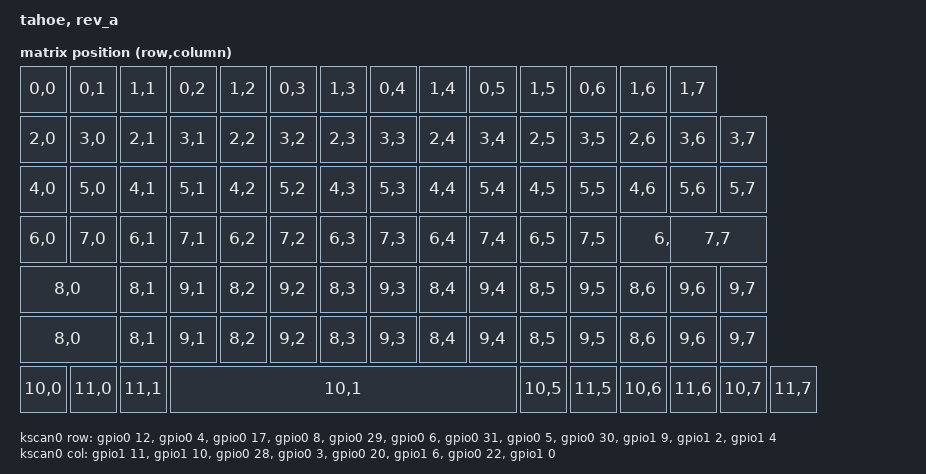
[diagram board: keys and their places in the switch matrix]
/*
 * Copyright (c) 2020 The ZMK Contributors
 *
 * SPDX-License-Identifier: MIT
 */

/dts-v1/;
#include <nordic/nrf52840_qiaa.dtsi>
#include <physical_layouts.dtsi>
#include <dt-bindings/led/led.h>
#include <dt-bindings/zmk/matrix_transform.h>
#include "tahoe.dtsi"

/ {
	model = "tahoe, rev_a";
	compatible = "tahoe,rev_a";

	chosen {
		zephyr,code-partition = &code_partition;
		zephyr,sram = &sram0;
		zephyr,flash = &flash0;
		// zmk,battery = &fuel_gauge;
		// zmk,kscan = &kscan0;
		// zmk,matrix_transform = &default_transform;
                zmk,physical-layout = &matrix_physical_layout;
		// zmk,underglow = &led_strip;
	};

        matrix_physical_layout: matrix_physical_layout {
            compatible = "zmk,physical-layout";
            display-name = "Matrix Layout";

            kscan = <&kscan0>;
            transform = <&default_transform>;

            // TODO fix this for tahoe layout specifically

            // key_physical_attrs params
            // int16_t width;
            // int16_t height;
            // int16_t x;
            // int16_t y;
            // int16_t rx;
            // int16_t ry;
            // int16_t r;
            keys
                // top row, 14 keys (though the far right is a rotary)
                = <&key_physical_attrs 100 100 0    0   0 0 0>
                , <&key_physical_attrs 100 100 100  0   0 0 0>
                , <&key_physical_attrs 100 100 200  0   0 0 0>
                , <&key_physical_attrs 100 100 300  0   0 0 0>
                , <&key_physical_attrs 100 100 400  0   0 0 0>
                , <&key_physical_attrs 100 100 500  0   0 0 0>
                , <&key_physical_attrs 100 100 600  0   0 0 0>
                , <&key_physical_attrs 100 100 700  0   0 0 0>
                , <&key_physical_attrs 100 100 800  0   0 0 0>
                , <&key_physical_attrs 100 100 900  0   0 0 0>
                , <&key_physical_attrs 100 100 1000 0   0 0 0>
                , <&key_physical_attrs 100 100 1100 0   0 0 0>
                , <&key_physical_attrs 100 100 1200 0   0 0 0>
                , <&key_physical_attrs 100 100 1300 0   0 0 0>

                // second from the top, 15 keys
                , <&key_physical_attrs 100 100 0    100 0 0 0>
                , <&key_physical_attrs 100 100 100  100 0 0 0>
                , <&key_physical_attrs 100 100 200  100 0 0 0>
                , <&key_physical_attrs 100 100 300  100 0 0 0>
                , <&key_physical_attrs 100 100 400  100 0 0 0>
                , <&key_physical_attrs 100 100 500  100 0 0 0>
                , <&key_physical_attrs 100 100 600  100 0 0 0>
                , <&key_physical_attrs 100 100 700  100 0 0 0>
                , <&key_physical_attrs 100 100 800  100 0 0 0>
                , <&key_physical_attrs 100 100 900  100 0 0 0>
                , <&key_physical_attrs 100 100 1000 100 0 0 0>
                , <&key_physical_attrs 100 100 1100 100 0 0 0>
                , <&key_physical_attrs 100 100 1200 100 0 0 0>
                , <&key_physical_attrs 100 100 1300 100 0 0 0>
                , <&key_physical_attrs 100 100 1400 100 0 0 0>

                // third from the top, 15 keys
                , <&key_physical_attrs 100 100 0    200 0 0 0>
                , <&key_physical_attrs 100 100 100  200 0 0 0>
                , <&key_physical_attrs 100 100 200  200 0 0 0>
                , <&key_physical_attrs 100 100 300  200 0 0 0>
                , <&key_physical_attrs 100 100 400  200 0 0 0>
                , <&key_physical_attrs 100 100 500  200 0 0 0>
                , <&key_physical_attrs 100 100 600  200 0 0 0>
                , <&key_physical_attrs 100 100 700  200 0 0 0>
                , <&key_physical_attrs 100 100 800  200 0 0 0>
                , <&key_physical_attrs 100 100 900  200 0 0 0>
                , <&key_physical_attrs 100 100 1000 200 0 0 0>
                , <&key_physical_attrs 100 100 1100 200 0 0 0>
                , <&key_physical_attrs 100 100 1200 200 0 0 0>
                , <&key_physical_attrs 100 100 1300 200 0 0 0>
                , <&key_physical_attrs 100 100 1400 200 0 0 0>

                // fourth from the top, 14 keys
                , <&key_physical_attrs 100 100 0    300 0 0 0>
                , <&key_physical_attrs 100 100 100  300 0 0 0>
                , <&key_physical_attrs 100 100 200  300 0 0 0>
                , <&key_physical_attrs 100 100 300  300 0 0 0>
                , <&key_physical_attrs 100 100 400  300 0 0 0>
                , <&key_physical_attrs 100 100 500  300 0 0 0>
                , <&key_physical_attrs 100 100 600  300 0 0 0>
                , <&key_physical_attrs 100 100 700  300 0 0 0>
                , <&key_physical_attrs 100 100 800  300 0 0 0>
                , <&key_physical_attrs 100 100 900  300 0 0 0>
                , <&key_physical_attrs 100 100 1000 300 0 0 0>
                , <&key_physical_attrs 100 100 1100 300 0 0 0>
                , <&key_physical_attrs 200 100 1200 300 0 0 0>
                , <&key_physical_attrs 200 100 1300 300 0 0 0>

                // fifth from the top, 14 keys
                , <&key_physical_attrs 200 100 0    400 0 0 0>
                , <&key_physical_attrs 100 100 200  400 0 0 0>
                , <&key_physical_attrs 100 100 300  400 0 0 0>
                , <&key_physical_attrs 100 100 400  400 0 0 0>
                , <&key_physical_attrs 100 100 500  400 0 0 0>
                , <&key_physical_attrs 100 100 600  400 0 0 0>
                , <&key_physical_attrs 100 100 700  400 0 0 0>
                , <&key_physical_attrs 100 100 800  400 0 0 0>
                , <&key_physical_attrs 100 100 900  400 0 0 0>
                , <&key_physical_attrs 100 100 1000 400 0 0 0>
                , <&key_physical_attrs 100 100 1100 400 0 0 0>
                , <&key_physical_attrs 100 100 1200 400 0 0 0>
                , <&key_physical_attrs 100 100 1300 400 0 0 0>
                , <&key_physical_attrs 100 100 1400 400 0 0 0>

                // sixth from the top, 14 keys
                , <&key_physical_attrs 200 100 0    500 0 0 0>
                , <&key_physical_attrs 100 100 200  500 0 0 0>
                , <&key_physical_attrs 100 100 300  500 0 0 0>
                , <&key_physical_attrs 100 100 400  500 0 0 0>
                , <&key_physical_attrs 100 100 500  500 0 0 0>
                , <&key_physical_attrs 100 100 600  500 0 0 0>
                , <&key_physical_attrs 100 100 700  500 0 0 0>
                , <&key_physical_attrs 100 100 800  500 0 0 0>
                , <&key_physical_attrs 100 100 900  500 0 0 0>
                , <&key_physical_attrs 100 100 1000 500 0 0 0>
                , <&key_physical_attrs 100 100 1100 500 0 0 0>
                , <&key_physical_attrs 100 100 1200 500 0 0 0>
                , <&key_physical_attrs 100 100 1300 500 0 0 0>
                , <&key_physical_attrs 100 100 1400 500 0 0 0>

                // seventh from the top, 10 keys
                , <&key_physical_attrs 100 100 0    600 0 0 0>
                , <&key_physical_attrs 100 100 100  600 0 0 0>
                , <&key_physical_attrs 100 100 200  600 0 0 0>
                , <&key_physical_attrs 700 100 300  600 0 0 0>
                , <&key_physical_attrs 100 100 1000 600 0 0 0>
                , <&key_physical_attrs 100 100 1100 600 0 0 0>
                , <&key_physical_attrs 100 100 1200 600 0 0 0>
                , <&key_physical_attrs 100 100 1300 600 0 0 0>
                , <&key_physical_attrs 100 100 1400 600 0 0 0>
                , <&key_physical_attrs 100 100 1500 600 0 0 0>
                ;
        };

        // this transform basically filters out some of the GPIO locations defined in kscan0 below.
        // i.e. kscan0 explains that we have 15 columns and 6 rows worth of possible connections.
        // but this transform indicates which are actually in use, and which GPIO position those map
        // to. for example, (5,3), (5,4), and (5,5) are not in use because of physical spacing but
        // (5,6) is the space bar.
        // the main benefit of this seems to be just so that "users don't have to set them [unused positions] to &none in keymaps."
	default_transform: keymap_transform_0 {
		compatible = "zmk,matrix-transform";
		columns = <8>;
		rows = <12>;
		map = <
			RC(0,0)           RC(0,1)  RC(1,1)  RC(0,2)  RC(1,2)  RC(0,3)  RC(1,3)  RC(0,4)  RC(1,4)  RC(0,5)  RC(1,5)  RC(0,6)  RC(1,6)           RC(1,7)
			RC(2,0)  RC(3,0)  RC(2,1)  RC(3,1)  RC(2,2)  RC(3,2)  RC(2,3)  RC(3,3)  RC(2,4)  RC(3,4)  RC(2,5)  RC(3,5)  RC(2,6)  RC(3,6)           RC(3,7)
			RC(4,0)  RC(5,0)  RC(4,1)  RC(5,1)  RC(4,2)  RC(5,2)  RC(4,3)  RC(5,3)  RC(4,4)  RC(5,4)  RC(4,5)  RC(5,5)  RC(4,6)  RC(5,6)           RC(5,7)
			RC(6,0)  RC(7,0)  RC(6,1)  RC(7,1)  RC(6,2)  RC(7,2)  RC(6,3)  RC(7,3)  RC(6,4)  RC(7,4)  RC(6,5)  RC(7,5)                    RC(6,7)  RC(7,7)
			RC(8,0)           RC(8,1)  RC(9,1)  RC(8,2)  RC(9,2)  RC(8,3)  RC(9,3)  RC(8,4)  RC(9,4)  RC(8,5)  RC(9,5)  RC(8,6)  RC(9,6)           RC(9,7)
			RC(8,0)           RC(8,1)  RC(9,1)  RC(8,2)  RC(9,2)  RC(8,3)  RC(9,3)  RC(8,4)  RC(9,4)  RC(8,5)  RC(9,5)  RC(8,6)  RC(9,6)           RC(9,7)
			RC(10,0) RC(11,0) RC(11,1) RC(10,1)                                                       RC(10,5) RC(11,5) RC(10,6) RC(11,6) RC(10,7) RC(11,7)
                        >;
	};


        // defines which GPIO on the microcontroller are connected to which rows and columns of the PCB.
	kscan0: kscan {
		compatible = "zmk,kscan-gpio-matrix";
		label = "KSCAN";
		diode-direction = "row2col";
		row-gpios
			= <&gpio0 12 (GPIO_ACTIVE_HIGH | GPIO_PULL_DOWN)>
			, <&gpio0 4 (GPIO_ACTIVE_HIGH | GPIO_PULL_DOWN)>
			, <&gpio0 17 (GPIO_ACTIVE_HIGH | GPIO_PULL_DOWN)>
			, <&gpio0 8 (GPIO_ACTIVE_HIGH | GPIO_PULL_DOWN)>
			, <&gpio0 29 (GPIO_ACTIVE_HIGH | GPIO_PULL_DOWN)>
			, <&gpio0 6 (GPIO_ACTIVE_HIGH | GPIO_PULL_DOWN)>
			, <&gpio0 31 (GPIO_ACTIVE_HIGH | GPIO_PULL_DOWN)>
			, <&gpio0 5 (GPIO_ACTIVE_HIGH | GPIO_PULL_DOWN)>
			, <&gpio0 30 (GPIO_ACTIVE_HIGH | GPIO_PULL_DOWN)>
			, <&gpio1 9 (GPIO_ACTIVE_HIGH | GPIO_PULL_DOWN)>
			, <&gpio1 2 (GPIO_ACTIVE_HIGH | GPIO_PULL_DOWN)>
			, <&gpio1 4 (GPIO_ACTIVE_HIGH | GPIO_PULL_DOWN)>
			;
		col-gpios
			= <&gpio1 11 GPIO_ACTIVE_HIGH>
			, <&gpio1 10 GPIO_ACTIVE_HIGH>
			, <&gpio0 28 GPIO_ACTIVE_HIGH>
			, <&gpio0  3 GPIO_ACTIVE_HIGH>
			, <&gpio0 20 GPIO_ACTIVE_HIGH>
			, <&gpio1  6 GPIO_ACTIVE_HIGH>
			, <&gpio0 22 GPIO_ACTIVE_HIGH>
			, <&gpio1  0 GPIO_ACTIVE_HIGH>
			;
	};

	// sensors {
    	// compatible = "zmk,keymap-sensors";
    	// sensors = <&left_encoder>;
	// };

	// left_encoder: encoder_left {
        //     compatible = "alps,ec11";
        //     label = "LEFT_ENCODER";
        //     a-gpios = <&gpio0 20 (GPIO_ACTIVE_HIGH | GPIO_PULL_UP)>;
        //     b-gpios = <&gpio0 19 (GPIO_ACTIVE_HIGH | GPIO_PULL_UP)>;
        //     resolution = <2>;
        // };

	ext-power {
		compatible = "zmk,ext-power-generic";
		label = "EXT_POWER";
		control-gpios = <&gpio0 10 GPIO_ACTIVE_HIGH>;
	};
};

&gpio0 {
	status = "okay";
};

&gpio1 {
	status = "okay";
};

&usbd {
	status = "okay";
};

zephyr_udc0: &usbd {
    status = "okay";
    // cdc_acm_uart: cdc_acm_uart {
    //     compatible = "zephyr,cdc-acm-uart";
    // };
};

// &i2c0 {
// 	compatible = "nordic,nrf-twi";
// 	status = "okay";
//         pinctrl-0 = <&i2c0_default>;
//         pinctrl-1 = <&i2c0_sleep>;
//         pinctrl-names = "default", "sleep";
// 
// 	fuel_gauge: max17048@36 {
// 		compatible = "zmk,maxim-max17048";
// 		status = "okay";
// 		reg = <0x36>;
// 	};
// };

// &spi1 {
//   compatible = "nordic,nrf-spim";
//   status = "okay";
// 
//   pinctrl-0 = <&spi1_default>;
//   pinctrl-1 = <&spi1_sleep>;
//   pinctrl-names = "default", "sleep";
// 
//   led_strip: ws2812@0 {
//     compatible = "worldsemi,ws2812-spi";
//     label = "WS2812";
// 
//     /* SPI */
//     reg = <0>; /* ignored, but necessary for SPI bindings */
//     spi-max-frequency = <4000000>;
// 
//     /* WS2812 */
//     /* https://docs.zephyrproject.org/latest/build/dts/api/bindings/led_strip/worldsemi,ws2812-spi.html */
//     chain-length = <5>; /* number of LEDs */
//     spi-one-frame = <0x70>;
//     spi-zero-frame = <0x40>;
//     color-mapping = <LED_COLOR_ID_GREEN
//                      LED_COLOR_ID_RED
//                      LED_COLOR_ID_BLUE>;
//   };
// };

&flash0 {
	/*
	 * For more information, see:
	 * http://docs.zephyrproject.org/latest/devices/dts/flash_partitions.html
	 */
	partitions {
		compatible = "fixed-partitions";
		#address-cells = <1>;
		#size-cells = <1>;

		sd_partition: partition@0 {
			label = "softdevice";
			reg = <0x00000000 0x00026000>;
		};
		code_partition: partition@26000 {
			label = "code_partition";
			reg = <0x00026000 0x000c6000>;
		};

		/*
		 * The flash starting at 0x000ec000 and ending at
		 * 0x000f3fff is reserved for use by the application.
		 */

		/*
		 * Storage partition will be used by FCB/LittleFS/NVS
		 * if enabled.
		 */
		storage_partition: partition@ec000 {
			label = "storage";
			reg = <0x000ec000 0x00008000>;
		};

		boot_partition: partition@f4000 {
			label = "adafruit_boot";
			reg = <0x000f4000 0x0000c000>;
		};
	};
};
